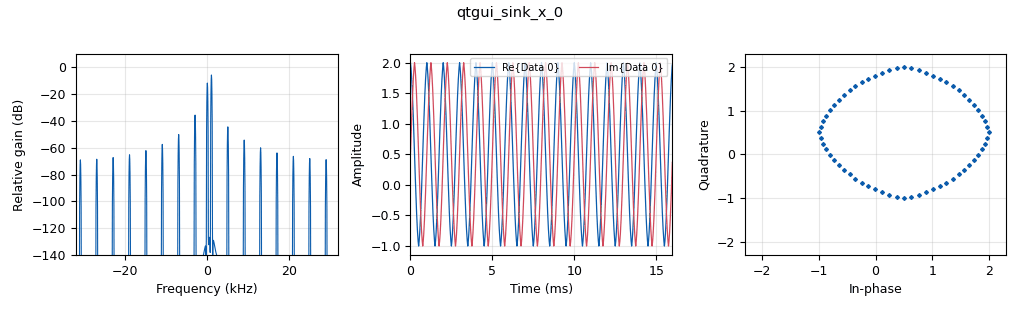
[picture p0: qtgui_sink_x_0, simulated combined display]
<?xml version='1.0' encoding='utf-8'?>
<?grc format='1' created='3.7.11'?>
<flow_graph>
<block>
<key>options</key>
<param><key>id</key><value>top_block</value></param>
<param><key>generate_options</key><value>qt_gui</value></param>
</block>
<block>
<key>variable_qtgui_range</key>
<param><key>id</key><value>iq_imb_mag_slide</value></param>
<param><key>value</key><value>0</value></param>
<param><key>label</key><value>Magnitude (dB)</value></param>
<param><key>orient</key><value>Qt.Horizontal</value></param>
<param><key>start</key><value>0</value></param>
<param><key>step</key><value>.01</value></param>
<param><key>stop</key><value>10</value></param>
</block>
<block>
<key>variable_qtgui_range</key>
<param><key>id</key><value>iq_imb_phase_slide</value></param>
<param><key>value</key><value>0</value></param>
<param><key>label</key><value>Dephasing to add (degrees)</value></param>
<param><key>orient</key><value>Qt.Horizontal</value></param>
<param><key>start</key><value>0</value></param>
<param><key>step</key><value>1</value></param>
<param><key>stop</key><value>360</value></param>
</block>
<block>
<key>variable_qtgui_range</key>
<param><key>id</key><value>noise_range</value></param>
<param><key>value</key><value>0</value></param>
<param><key>label</key><value>Noise Amplitude</value></param>
<param><key>orient</key><value>Qt.Horizontal</value></param>
<param><key>start</key><value>0</value></param>
<param><key>step</key><value>.01</value></param>
<param><key>stop</key><value>1</value></param>
</block>
<block>
<key>variable</key>
<param><key>id</key><value>samp_rate</value></param>
<param><key>value</key><value>64000</value></param>
</block>
<block>
<key>analog_noise_source_x</key>
<param><key>id</key><value>analog_noise_source_x_0</value></param>
<param><key>amp</key><value>noise_range</value></param>
<param><key>noise_type</key><value>analog.GR_GAUSSIAN</value></param>
<param><key>type</key><value>complex</value></param>
<param><key>seed</key><value>0</value></param>
</block>
<block>
<key>analog_sig_source_x</key>
<param><key>id</key><value>analog_sig_source_x_0</value></param>
<param><key>amp</key><value>1</value></param>
<param><key>freq</key><value>1000</value></param>
<param><key>offset</key><value>0</value></param>
<param><key>type</key><value>complex</value></param>
<param><key>samp_rate</key><value>samp_rate</value></param>
<param><key>waveform</key><value>analog.GR_TRI_WAVE</value></param>
</block>
<block>
<key>analog_sig_source_x</key>
<param><key>id</key><value>analog_sig_source_x_1</value></param>
<param><key>amp</key><value>1</value></param>
<param><key>freq</key><value>1000</value></param>
<param><key>offset</key><value>0</value></param>
<param><key>type</key><value>complex</value></param>
<param><key>samp_rate</key><value>samp_rate</value></param>
<param><key>waveform</key><value>analog.GR_COS_WAVE</value></param>
</block>
<block>
<key>blocks_add_xx</key>
<param><key>id</key><value>blocks_add_xx_0</value></param>
<param><key>type</key><value>complex</value></param>
</block>
<block>
<key>blocks_add_xx</key>
<param><key>id</key><value>blocks_add_xx_1</value></param>
<param><key>type</key><value>complex</value></param>
</block>
<block>
<key>channels_iqbal_gen</key>
<param><key>id</key><value>channels_iqbal_gen_0</value></param>
<param><key>mag</key><value>iq_imb_mag_slide</value></param>
<param><key>phase</key><value>iq_imb_phase_slide</value></param>
</block>
<block>
<key>qtgui_sink_x</key>
<param><key>id</key><value>qtgui_sink_x_0</value></param>
<param><key>bw</key><value>samp_rate</value></param>
<param><key>fc</key><value>0</value></param>
<param><key>freqchangevar</key><value>None</value></param>
<param><key>fftsize</key><value>1024</value></param>
<param><key>showports</key><value>True</value></param>
<param><key>type</key><value>complex</value></param>
<param><key>wintype</key><value>firdes.WIN_BLACKMAN_hARRIS</value></param>
</block>
<connection><source_block_id>analog_noise_source_x_0</source_block_id><sink_block_id>blocks_add_xx_0</sink_block_id><source_key>0</source_key><sink_key>1</sink_key></connection>
<connection><source_block_id>analog_sig_source_x_0</source_block_id><sink_block_id>blocks_add_xx_1</sink_block_id><source_key>0</source_key><sink_key>0</sink_key></connection>
<connection><source_block_id>analog_sig_source_x_1</source_block_id><sink_block_id>blocks_add_xx_1</sink_block_id><source_key>0</source_key><sink_key>1</sink_key></connection>
<connection><source_block_id>blocks_add_xx_0</source_block_id><sink_block_id>qtgui_sink_x_0</sink_block_id><source_key>0</source_key><sink_key>0</sink_key></connection>
<connection><source_block_id>blocks_add_xx_1</source_block_id><sink_block_id>channels_iqbal_gen_0</sink_block_id><source_key>0</source_key><sink_key>0</sink_key></connection>
<connection><source_block_id>channels_iqbal_gen_0</source_block_id><sink_block_id>blocks_add_xx_0</sink_block_id><source_key>0</source_key><sink_key>0</sink_key></connection>
</flow_graph>
